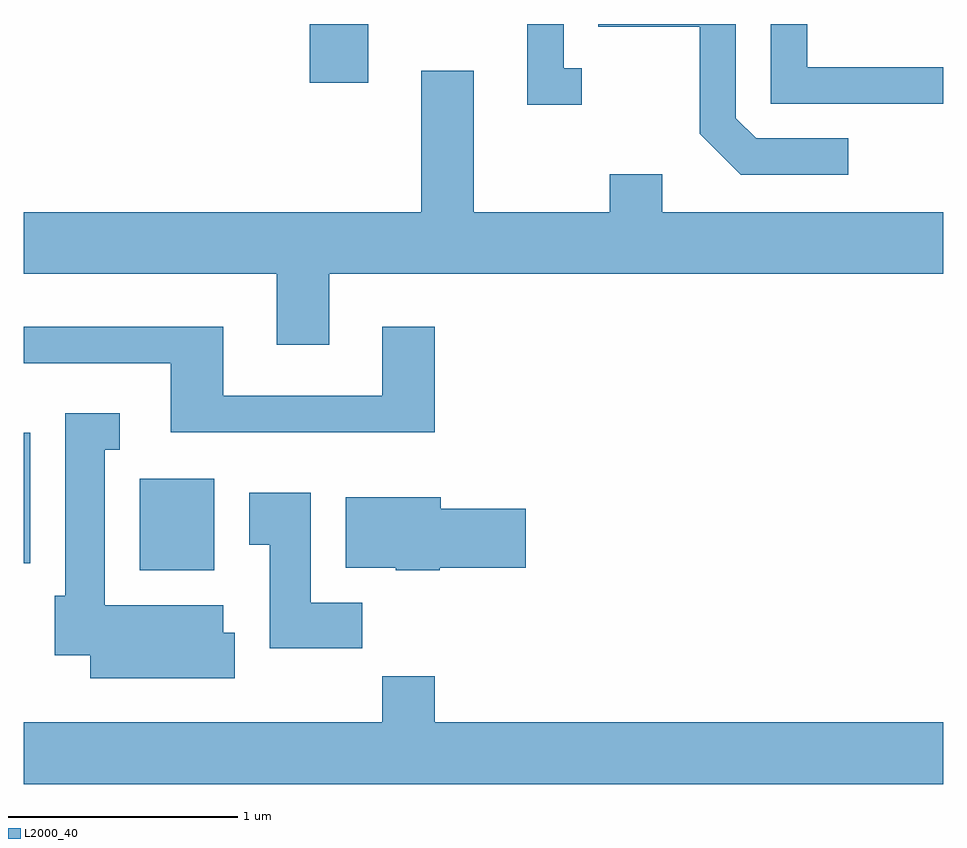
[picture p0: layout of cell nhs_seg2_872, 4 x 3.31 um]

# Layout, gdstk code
import gdstk
lib = gdstk.Library(unit=1e-6, precision=1e-09)
def R(c, l, rs):  # rectangles x0, y0, x1, y1
    for r in rs: c.add(gdstk.rectangle(r[:2], r[2:], *l))
def P(c, l, *ps):  # polygons
    for p in ps: c.add(gdstk.Polygon(p, *l))
L2000_40 = (2000, 40)

nhs_seg2_872 = lib.new_cell('nhs_seg2_872')
R(nhs_seg2_872, L2000_40, [(210.116,1091.426,210.439,1091.824), (209.611,1091.456,209.639,1092.024), (210.856,1093.546,211.109,1093.802)])
P(nhs_seg2_872, L2000_40, [(213.198,1093.304),(212.797,1093.304),(212.709,1093.392),(212.709,1093.802),(212.111,1093.802),(212.111,1093.791),(212.551,1093.791),(212.551,1093.324),(212.729,1093.146),(213.198,1093.146)],
  [(213.611,1093.614),(213.019,1093.614),(213.019,1093.802),(212.861,1093.802),(212.861,1093.456),(213.611,1093.456)],
  [(212.038,1093.609),(211.959,1093.609),(211.959,1093.802),(211.801,1093.802),(211.801,1093.451),(212.038,1093.451)],
  [(210.939,1092.716),(213.611,1092.716),(213.611,1092.984),(212.389,1092.984),(212.389,1093.149),(212.161,1093.149),(212.161,1092.984),(211.569,1092.984),(211.569,1093.599),(211.341,1093.599),(211.341,1092.984),(209.611,1092.984),(209.611,1092.716),(210.711,1092.716),(210.711,1092.406),(210.939,1092.406)],
  [(211.399,1092.484),(211.171,1092.484),(211.171,1092.184),(210.479,1092.184),(210.479,1092.484),(209.611,1092.484),(209.611,1092.326),(210.251,1092.326),(210.251,1092.026),(211.399,1092.026)],
  [(210.529,1091.154),(210.479,1091.154),(210.479,1091.274),(209.964,1091.274),(209.964,1091.951),(210.028,1091.951),(210.028,1092.109),(209.791,1092.109),(209.791,1091.314),(209.746,1091.314),(209.746,1091.056),(209.901,1091.056),(209.901,1090.956),(210.529,1090.956)],
  [(211.084,1091.284),(210.859,1091.284),(210.859,1091.764),(210.591,1091.764),(210.591,1091.536),(210.681,1091.536),(210.681,1091.086),(211.084,1091.086)],
  [(211.42,1091.436),(211.794,1091.436),(211.794,1091.694),(211.424,1091.694),(211.424,1091.744),(211.011,1091.744),(211.011,1091.436),(211.23,1091.436),(211.23,1091.426),(211.42,1091.426)],
  [(213.611,1090.764),(211.399,1090.764),(211.399,1090.964),(211.171,1090.964),(211.171,1090.764),(209.611,1090.764),(209.611,1090.496),(213.611,1090.496)])

lib.write_gds('nhs_seg2_872.gds')
